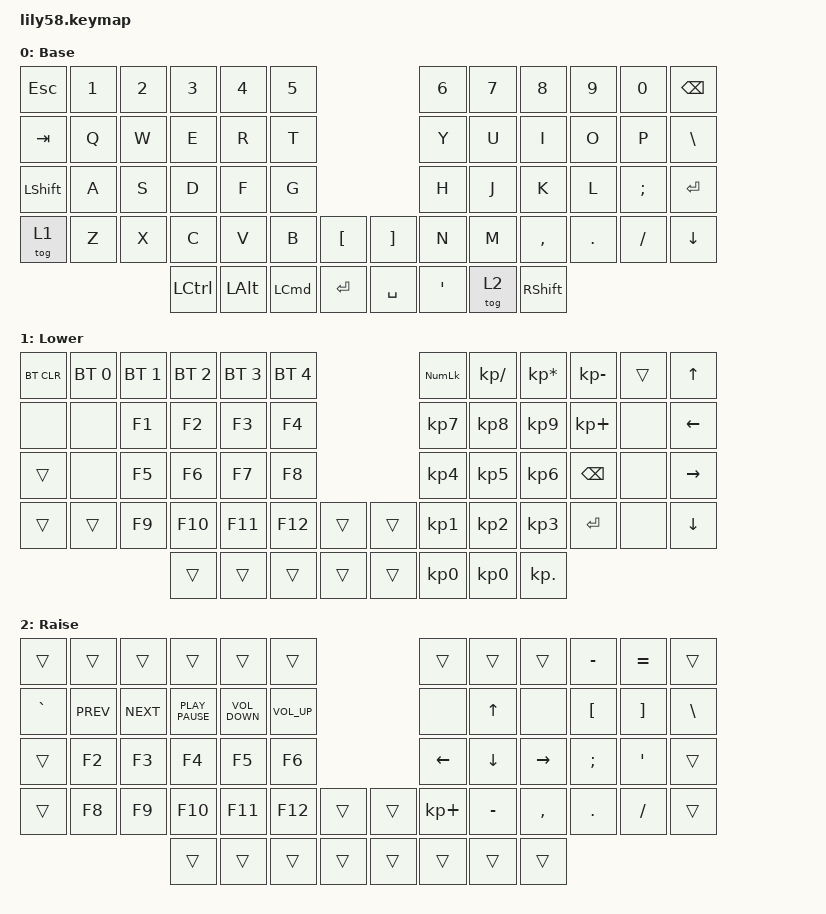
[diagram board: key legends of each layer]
/*
 * Copyright (c) 2020 The ZMK Contributors
 *
 * SPDX-License-Identifier: MIT
 */

#include <behaviors.dtsi>
#include <dt-bindings/zmk/bt.h>
#include <dt-bindings/zmk/keys.h>

/ {
    keymap {
        compatible = "zmk,keymap";

        default_layer {
            // ------------------------------------------------------------------------------------------------------------
            // |  ESC  |  1  |  2  |  3   |  4   |  5   |                   |  6   |  7    |  8    |  9   |   0   |   `   |
            // |  TAB  |  Q  |  W  |  E   |  R   |  T   |                   |  Y   |  U    |  I    |  O   |   P   |   -   |
            // |  CTRL |  A  |  S  |  D   |  F   |  G   |                   |  H   |  J    |  K    |  L   |   ;   |   '   |
            // | SHIFT |  Z  |  X  |  C   |  V   |  B   |   "["  |  |  "]"  |  N   |  M    |  ,    |  .   |   /   | SHIFT |
            //                     | ALT  | GUI  | LOWER|  SPACE |  | ENTER | RAISE| BSPC  | GUI   |

            display-name = "Base";
            bindings = <
&kp ESC         &kp N1  &kp N2  &kp N3            &kp N4        &kp N5                                    &kp N6            &kp N7  &kp N8           &kp N9   &kp N0    &kp BACKSPACE
&kp TAB         &kp Q   &kp W   &kp E             &kp R         &kp T                                     &kp Y             &kp U   &kp I            &kp O    &kp P     &kp BACKSLASH
&kp LEFT_SHIFT  &kp A   &kp S   &kp D             &kp F         &kp G                                     &kp H             &kp J   &kp K            &kp L    &kp SEMI  &kp ENTER
&tog 1          &kp Z   &kp X   &kp C             &kp V         &kp B             &kp LBKT     &kp RBKT   &kp N             &kp M   &kp COMMA        &kp DOT  &kp FSLH  &kp DOWN_ARROW
                                &kp LEFT_CONTROL  &kp LEFT_ALT  &kp LEFT_COMMAND  &kp ENTER    &kp SPACE  &kp SINGLE_QUOTE  &tog 2  &kp RIGHT_SHIFT
            >;
        };

        lower_layer {
            // ------------------------------------------------------------------------------------------------------------
            // | BTCLR | BT1 | BT2 |  BT3 |  BT4 |  BT5 |                   |      |       |       |      |       |       |
            // |  F1   |  F2 |  F3 |  F4  |  F5  |  F6  |                   |  F7  |  F8   |  F9   |  F10 |  F11  |  F12  |
            // |   `   |  !  |  @  |  #   |  $   |  %   |                   |  ^   |  &    |  *    |  (   |   )   |   ~   |
            // |       |     |     |      |      |      |        |  |       |      |  _    |  +    |  {   |   }   |  "|"  |
            //                     |      |      |      |        |  |       |      |       |       |

            display-name = "Lower";
            bindings = <
&bt BT_CLR  &bt BT_SEL 0  &bt BT_SEL 1  &bt BT_SEL 2  &bt BT_SEL 3  &bt BT_SEL 4                    &kp KP_NUMLOCK   &kp KP_DIVIDE    &kp KP_MULTIPLY  &kp KP_SUBTRACT  &trans  &kp UP_ARROW
&none       &none         &kp F1        &kp F2        &kp F3        &kp F4                          &kp KP_NUMBER_7  &kp KP_NUMBER_8  &kp KP_NUMBER_9  &kp KP_PLUS      &none   &kp LEFT
&trans      &none         &kp F5        &kp F6        &kp F7        &kp F8                          &kp KP_NUMBER_4  &kp KP_NUMBER_5  &kp KP_NUMBER_6  &kp BACKSPACE    &none   &kp RIGHT
&trans      &trans        &kp F9        &kp F10       &kp F11       &kp F12       &trans    &trans  &kp KP_NUMBER_1  &kp KP_NUMBER_2  &kp KP_NUMBER_3  &kp ENTER        &none   &kp DOWN
                                        &trans        &trans        &trans        &trans    &trans  &kp KP_NUMBER_0  &kp KP_NUMBER_0  &kp KP_DOT
            >;
        };

        raise_layer {
            // ------------------------------------------------------------------------------------------------------------
            // |       |     |     |      |      |      |                   |      |       |       |      |       |       |
            // |   `   |  1  |  2  |  3   |  4   |  5   |                   |  6   |   7   |   8   |  9   |   0   |       |
            // |   F1  |  F2 |  F3 |  F4  |  F5  |  F6  |                   |      |   <-  |   v   |  ^   |  ->   |       |
            // |   F7  |  F8 |  F9 |  F10 |  F11 |  F12 |        |  |       |  +   |   -   |   =   |  [   |   ]   |   \   |
            //                     |      |      |      |        |  |       |      |       |       |

            display-name = "Raise";
            bindings = <
&trans     &trans      &trans      &trans            &trans             &trans                             &trans          &trans          &trans           &kp MINUS         &kp EQUAL          &trans
&kp GRAVE  &kp K_PREV  &kp K_NEXT  &kp K_PLAY_PAUSE  &kp C_VOLUME_DOWN  &kp C_VOLUME_UP                    &none           &kp UP_ARROW    &none            &kp LEFT_BRACKET  &kp RIGHT_BRACKET  &kp BACKSLASH
&trans     &kp F2      &kp F3      &kp F4            &kp F5             &kp F6                             &kp LEFT_ARROW  &kp DOWN_ARROW  &kp RIGHT_ARROW  &kp SEMICOLON     &kp SINGLE_QUOTE   &trans
&trans     &kp F8      &kp F9      &kp F10           &kp F11            &kp F12          &trans    &trans  &kp KP_PLUS     &kp MINUS       &kp COMMA        &kp PERIOD        &kp SLASH          &trans
                                   &trans            &trans             &trans           &trans    &trans  &trans          &trans          &trans
            >;
        };
    };
};
